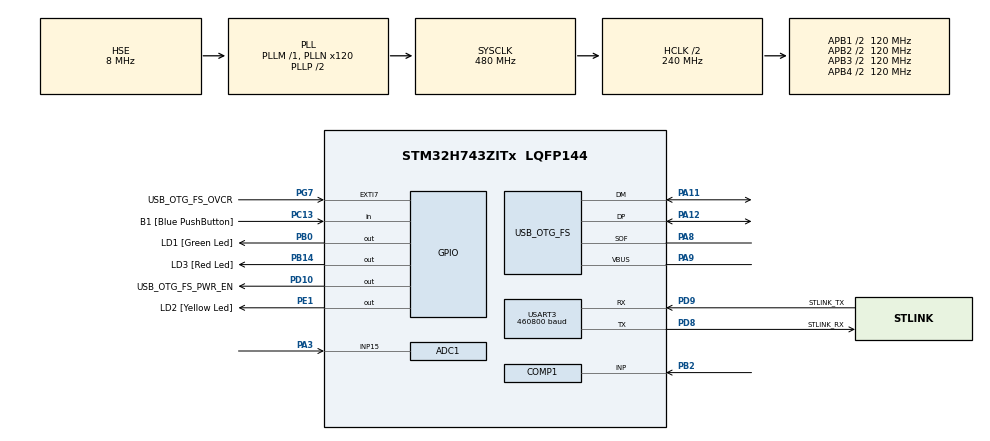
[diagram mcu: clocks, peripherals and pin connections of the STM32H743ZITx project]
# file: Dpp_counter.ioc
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ADC1.Channel-0\#ChannelRegularConversion=ADC_CHANNEL_15
ADC1.ClockPrescaler=ADC_CLOCK_ASYNC_DIV1
ADC1.ContinuousConvMode=ENABLE
ADC1.ConversionDataManagement=ADC_CONVERSIONDATA_DMA_CIRCULAR
ADC1.NbrOfConversion=1
ADC1.NbrOfConversionFlag=1
ADC1.OffsetNumber-0\#ChannelRegularConversion=ADC_OFFSET_NONE
ADC1.OffsetSignedSaturation-0\#ChannelRegularConversion=DISABLE
ADC1.Overrun=ADC_OVR_DATA_OVERWRITTEN
ADC1.Rank-0\#ChannelRegularConversion=1
ADC1.Resolution=ADC_RESOLUTION_12B
ADC1.SamplingTime-0\#ChannelRegularConversion=ADC_SAMPLETIME_32CYCLES_5
ADC1.master=1
COMP1.TriggerMode=COMP_TRIGGERMODE_IT_RISING
Dma.ADC1.0.Direction=DMA_PERIPH_TO_MEMORY
Dma.ADC1.0.EventEnable=DISABLE
Dma.ADC1.0.FIFOMode=DMA_FIFOMODE_DISABLE
Dma.ADC1.0.Instance=DMA1_Stream0
Dma.ADC1.0.MemDataAlignment=DMA_MDATAALIGN_WORD
Dma.ADC1.0.MemInc=DMA_MINC_ENABLE
Dma.ADC1.0.Mode=DMA_CIRCULAR
Dma.ADC1.0.PeriphDataAlignment=DMA_PDATAALIGN_WORD
Dma.ADC1.0.PeriphInc=DMA_PINC_DISABLE
Dma.ADC1.0.Polarity=HAL_DMAMUX_REQ_GEN_RISING
Dma.ADC1.0.Priority=DMA_PRIORITY_HIGH
Dma.ADC1.0.RequestNumber=1
Dma.ADC1.0.SignalID=NONE
Dma.ADC1.0.SyncEnable=DISABLE
Dma.ADC1.0.SyncPolarity=HAL_DMAMUX_SYNC_NO_EVENT
Dma.ADC1.0.SyncRequestNumber=1
Dma.ADC1.0.SyncSignalID=NONE
Dma.Request0=ADC1
FREERTOS.Tasks01=mainTask,0,256,StartDefaultTask,Default,NULL,Dynamic,NULL,NULL;samplingTask,0,128,StartSamplingTask,Default,NULL,Dynamic,NULL,NULL;SerialTask,0,128,StartSerialTask,Default,NULL,Dynamic,NULL,NULL
FREERTOS.configUSE_NEWLIB_REENTRANT=1
Mcu.Family=STM32H7
Mcu.Name=STM32H743ZITx
Mcu.Package=LQFP144
NVIC.COMP_IRQn=true\:5\:0\:false\:false\:true\:true\:false\:true\:true
NVIC.DMA1_Stream0_IRQn=true\:5\:0\:false\:false\:true\:true\:false\:true\:true
NVIC.PriorityGroup=NVIC_PRIORITYGROUP_4
NVIC.TIM1_UP_IRQn=true\:15\:0\:false\:false\:true\:false\:false\:true\:true
NVIC.TimeBase=TIM1_UP_IRQn
NVIC.TimeBaseIP=TIM1
NVIC.USART3_IRQn=true\:5\:0\:false\:false\:true\:true\:true\:true\:true
PA11.Mode=Device_Only
PA11.Signal=USB_OTG_FS_DM
PA12.Mode=Device_Only
PA12.Signal=USB_OTG_FS_DP
PA3.Signal=ADCx_INP15
PA8.Mode=Activate_SOF_FS
PA8.Signal=USB_OTG_FS_SOF
PA9.Mode=Activate_VBUS
PA9.Signal=USB_OTG_FS_VBUS
PB0.GPIO_Label=LD1 [Green Led]
PB0.Signal=GPIO_Output
PB14.GPIO_Label=LD3 [Red Led]
PB14.Signal=GPIO_Output
PB2.Mode=INP
PB2.Signal=COMP1_INP
PC13.GPIO_Label=B1 [Blue PushButton]
PC13.Signal=GPIO_Input
PC14-OSC32_IN\ (OSC32_IN).Mode=LSE-External-Oscillator
PC14-OSC32_IN\ (OSC32_IN).Signal=RCC_OSC32_IN
PC15-OSC32_OUT\ (OSC32_OUT).Mode=LSE-External-Oscillator
PC15-OSC32_OUT\ (OSC32_OUT).Signal=RCC_OSC32_OUT
PD10.GPIO_Label=USB_OTG_FS_PWR_EN
PD10.Signal=GPIO_Output
PD8.GPIO_Label=STLINK_RX
PD8.Mode=Asynchronous
PD8.Signal=USART3_TX
PD9.GPIO_Label=STLINK_TX
PD9.Mode=Asynchronous
PD9.Signal=USART3_RX
PE1.GPIO_Label=LD2 [Yellow Led]
PE1.Signal=GPIO_Output
PG7.GPIO_Label=USB_OTG_FS_OVCR
PG7.Signal=GPXTI7
PH0-OSC_IN\ (PH0).Mode=HSE-External-Clock-Source
PH0-OSC_IN\ (PH0).Signal=RCC_OSC_IN
PH1-OSC_OUT\ (PH1).Signal=RCC_OSC_OUT
ProjectManager.HeapSize=0x200
ProjectManager.StackSize=0x400
ProjectManager.TargetToolchain=STM32CubeIDE
RCC.ADCFreq_Value=100000000
RCC.APB1Freq_Value=120000000
RCC.APB2Freq_Value=120000000
RCC.APB3Freq_Value=120000000
RCC.APB4Freq_Value=120000000
RCC.CortexFreq_Value=480000000
RCC.D1PPRE=RCC_APB3_DIV2
RCC.D2PPRE1=RCC_APB1_DIV2
RCC.D2PPRE2=RCC_APB2_DIV2
RCC.D3PPRE=RCC_APB4_DIV2
RCC.DIVM1=1
RCC.DIVM2=1
RCC.DIVN1=120
RCC.DIVN2=100
RCC.DIVP2=8
RCC.DIVQ1=15
RCC.HCLKFreq_Value=240000000
RCC.HPRE=RCC_HCLK_DIV2
RCC.HSE_VALUE=8000000
RCC.PLL2FRACN=0
RCC.PLL3FRACN=0
RCC.PLLFRACN=0
RCC.PWR_Regulator_Voltage_Scale=PWR_REGULATOR_VOLTAGE_SCALE0
RCC.SYSCLKFreq_VALUE=480000000
RCC.SYSCLKSource=RCC_SYSCLKSOURCE_PLLCLK
RCC.USBFreq_Value=64000000
SH.ADCx_INP15.0=ADC2_INP15
SH.ADCx_INP15.1=ADC1_INP15,IN15-Single-Ended
STMicroelectronics.X-CUBE-ALGOBUILD.1.4.0.LibraryCcDSPOoLibraryJjDSPOoLibrary=true
USART3.BaudRate=460800
USART3.VirtualMode-Asynchronous=VM_ASYNC
USB_OTG_FS.VirtualMode=Device_Only
VP_COMP1_VS_VREFINT34.Mode=VREFINT_34
VP_FREERTOS_VS_CMSIS_V1.Mode=CMSIS_V1
VP_STMicroelectronics.X-CUBE-ALGOBUILD_VS_DSPOoLibraryJjLibrary_1.4.0_1.4.0.Mode=DSPOoLibraryJjLibrary
VP_SYS_VS_tim1.Mode=TIM1
board=NUCLEO-H743ZI2

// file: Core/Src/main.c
/* USER CODE BEGIN Header */
/**
  ******************************************************************************
  * @file           : main.c
  * @brief          : Main program body
  ******************************************************************************
  * @attention
  *
  * Copyright (c) 2024 STMicroelectronics.
  * All rights reserved.
  *
  * This software is licensed under terms that can be found in the LICENSE file
  * in the root directory of this software component.
  * If no LICENSE file comes with this software, it is provided AS-IS.
  *
  ******************************************************************************
  */
/* USER CODE END Header */
#include "main.h"
#include "cmsis_os.h"
#include "adc.h"
#include "comp.h"
#include "dma.h"
#include "usart.h"
#include "usb_otg.h"
#include "gpio.h"

void SystemClock_Config(void);
void MX_FREERTOS_Init(void);

int main(void)
{

  /* MCU Configuration--------------------------------------------------------*/

  /* Reset of all peripherals, Initializes the Flash interface and the Systick. */
  HAL_Init();

  /* Configure the system clock */
  SystemClock_Config();

  /* Initialize all configured peripherals */
  MX_GPIO_Init();
  MX_DMA_Init();
  MX_USB_OTG_FS_PCD_Init();
  MX_ADC1_Init();
  MX_USART3_UART_Init();
  MX_COMP1_Init();

  /* Call init function for freertos objects (in cmsis_os2.c) */
  MX_FREERTOS_Init();

  /* Start scheduler */
  osKernelStart();

  /* We should never get here as control is now taken by the scheduler */

  /* Infinite loop */
  while (1)
  {

  }
}

void SystemClock_Config(void)
{
  RCC_OscInitTypeDef RCC_OscInitStruct = {0};
  RCC_ClkInitTypeDef RCC_ClkInitStruct = {0};

  /** Supply configuration update enable
  */
  HAL_PWREx_ConfigSupply(PWR_LDO_SUPPLY);

  /** Configure the main internal regulator output voltage
  */
  __HAL_PWR_VOLTAGESCALING_CONFIG(PWR_REGULATOR_VOLTAGE_SCALE1);

  while(!__HAL_PWR_GET_FLAG(PWR_FLAG_VOSRDY)) {}

  __HAL_RCC_SYSCFG_CLK_ENABLE();
  __HAL_PWR_VOLTAGESCALING_CONFIG(PWR_REGULATOR_VOLTAGE_SCALE0);

  while(!__HAL_PWR_GET_FLAG(PWR_FLAG_VOSRDY)) {}

  /** Initializes the RCC Oscillators according to the specified parameters
  * in the RCC_OscInitTypeDef structure.
  */
  RCC_OscInitStruct.OscillatorType = RCC_OSCILLATORTYPE_HSE;
  RCC_OscInitStruct.HSEState = RCC_HSE_BYPASS;
  RCC_OscInitStruct.PLL.PLLState = RCC_PLL_ON;
  RCC_OscInitStruct.PLL.PLLSource = RCC_PLLSOURCE_HSE;
  RCC_OscInitStruct.PLL.PLLM = 1;
  RCC_OscInitStruct.PLL.PLLN = 120;
  RCC_OscInitStruct.PLL.PLLP = 2;
  RCC_OscInitStruct.PLL.PLLQ = 15;
  RCC_OscInitStruct.PLL.PLLR = 2;
  RCC_OscInitStruct.PLL.PLLRGE = RCC_PLL1VCIRANGE_3;
  RCC_OscInitStruct.PLL.PLLVCOSEL = RCC_PLL1VCOWIDE;
  RCC_OscInitStruct.PLL.PLLFRACN = 0;
  if (HAL_RCC_OscConfig(&RCC_OscInitStruct) != HAL_OK)
  {
    Error_Handler();
  }

  /** Initializes the CPU, AHB and APB buses clocks
  */
  RCC_ClkInitStruct.ClockType = RCC_CLOCKTYPE_HCLK|RCC_CLOCKTYPE_SYSCLK
                              |RCC_CLOCKTYPE_PCLK1|RCC_CLOCKTYPE_PCLK2
                              |RCC_CLOCKTYPE_D3PCLK1|RCC_CLOCKTYPE_D1PCLK1;
  RCC_ClkInitStruct.SYSCLKSource = RCC_SYSCLKSOURCE_PLLCLK;
  RCC_ClkInitStruct.SYSCLKDivider = RCC_SYSCLK_DIV1;
  RCC_ClkInitStruct.AHBCLKDivider = RCC_HCLK_DIV2;
  RCC_ClkInitStruct.APB3CLKDivider = RCC_APB3_DIV2;
  RCC_ClkInitStruct.APB1CLKDivider = RCC_APB1_DIV2;
  RCC_ClkInitStruct.APB2CLKDivider = RCC_APB2_DIV2;
  RCC_ClkInitStruct.APB4CLKDivider = RCC_APB4_DIV2;

  if (HAL_RCC_ClockConfig(&RCC_ClkInitStruct, FLASH_LATENCY_4) != HAL_OK)
  {
    Error_Handler();
  }
}

void HAL_TIM_PeriodElapsedCallback(TIM_HandleTypeDef *htim)
{
  if (htim->Instance == TIM1) {
    HAL_IncTick();
  }
}

void Error_Handler(void)
{
  __disable_irq();
  while (1)
  {
  }
}

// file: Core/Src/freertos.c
/* USER CODE BEGIN Header */
/**
  ******************************************************************************
  * File Name          : freertos.c
  * Description        : Code for freertos applications
  ******************************************************************************
  * @attention
  *
  * Copyright (c) 2024 STMicroelectronics.
  * All rights reserved.
  *
  * This software is licensed under terms that can be found in the LICENSE file
  * in the root directory of this software component.
  * If no LICENSE file comes with this software, it is provided AS-IS.
  *
  ******************************************************************************
  */
/* USER CODE END Header */

#include "FreeRTOS.h"
#include "task.h"
#include "main.h"
#include "cmsis_os.h"

/* USER CODE BEGIN Includes */
#include "usart.h"
#include "adc.h"
#include "comp.h"
#include <stdio.h>
#include "arm_math.h"
/* USER CODE END Includes */

/* USER CODE BEGIN PD */
#define BUFFER_SIZE 16384
#define BUFFER_PRINT 8192
#define PREEMPT_SIZE 1024

#define FIR_TAP_NUM 31

#define K_TRAPZ  29
#define L_TRAPZ  50
#define M_TRAPZ  20

#define DPP_DEEP 2048

/* USER CODE END PD */

/* USER CODE BEGIN Variables */
uint8_t Rx_Data[10];
uint8_t fl_receive = 0;
uint8_t fl_dpp = 0;
uint8_t fl_counter = 0;
uint8_t fl_trigger = 0;
char    Tx_Data[30];
char    Tx_DPP[10];
char    Tx_Count[10];

uint32_t medicion[BUFFER_SIZE]; // Primer buffer para almacenar los valores del ADC
uint32_t envio[BUFFER_SIZE]; // Segundo buffer para almacenar los valores del ADC
uint32_t *currentBuffer = medicion; // Apuntador al buffer actual
uint32_t *sendBuffer = NULL; // Apuntador al buffer que se enviará

uint32_t read_ptr = 0; // Puntero de lectura para FIFO circular
uint32_t write_ptr = 0; // Puntero de escritura para FIFO circular
uint8_t triggered = 0; // Flag para indicar si se ha activado el trigger
uint8_t capture_done = 0; // Flag para indicar si se ha completado la captura

int contador = 0;

// Parametros del FIR Filter
//const q31_t firCoeffs32[FIR_TAP_NUM] = {
//		0x0000, 0x0001, 0x0003, 0x0007, 0x000C, 0x0012,
//		0x001A, 0x0021, 0x0029, 0x0031, 0x0038, 0x003E,
//		0x0043, 0x0046, 0x0048, 0x0048, 0x0046, 0x0043,
//		0x003E, 0x0038, 0x0031, 0x0029, 0x0021, 0x001A,
//		0x0012, 0x000C, 0x0007, 0x0003, 0x0001, 0x0000, 0x0000};

const float32_t firCoeffs32[FIR_TAP_NUM] = {
0.0,
0.0007663088786586984,
0.003059471829289364,
0.006811378631115489,
0.011876947805368786,
0.018040490404885947,
0.025025961489500727,
0.03251058488990011,
0.04014114263135406,
0.047552064652254124,
0.054384346502548496,
0.06030426910489331,
0.06502089883314185,
0.06830140818243065,
0.06998337387462639,
0.06998337387462639,
0.06830140818243065,
0.06502089883314185,
0.0603042691048933,
0.054384346502548496,
0.04755206465225412,
0.04014114263135405,
0.0325105848899001,
0.02502596148950071,
0.018040490404885933,
0.011876947805368774,
0.00681137863111547,
0.003059471829289364,
0.0007663088786586984,
0.0};

// Variables para el filtro FIR
float32_t firStateF32[BUFFER_SIZE + FIR_TAP_NUM - 1];
arm_fir_instance_q31 S;
float32_t input[BUFFER_SIZE];
float32_t output[BUFFER_SIZE];

// Variables para el filtro Trapz
float32_t outpTrapz[BUFFER_PRINT];
float32_t trapzStateF32[BUFFER_PRINT];

// Variables para llenado del DPP
uint32_t dppBuffer[DPP_DEEP];

/* USER CODE END Variables */
osThreadId mainTaskHandle;
osThreadId samplingTaskHandle;
osThreadId SerialTaskHandle;

/* USER CODE BEGIN FunctionPrototypes */
// Inicializacion del filtro FIR
void initFIR(void);

/* USER CODE END FunctionPrototypes */

void StartDefaultTask(void const * argument);
void StartSamplingTask(void const * argument);
void StartSerialTask(void const * argument);

void MX_FREERTOS_Init(void); /* (MISRA C 2004 rule 8.1) */

/* GetIdleTaskMemory prototype (linked to static allocation support) */
void vApplicationGetIdleTaskMemory( StaticTask_t **ppxIdleTaskTCBBuffer, StackType_t **ppxIdleTaskStackBuffer, uint32_t *pulIdleTaskStackSize );

/* USER CODE BEGIN GET_IDLE_TASK_MEMORY */
static StaticTask_t xIdleTaskTCBBuffer;
static StackType_t xIdleStack[configMINIMAL_STACK_SIZE];

void vApplicationGetIdleTaskMemory( StaticTask_t **ppxIdleTaskTCBBuffer, StackType_t **ppxIdleTaskStackBuffer, uint32_t *pulIdleTaskStackSize )
{
  *ppxIdleTaskTCBBuffer = &xIdleTaskTCBBuffer;
  *ppxIdleTaskStackBuffer = &xIdleStack[0];
  *pulIdleTaskStackSize = configMINIMAL_STACK_SIZE;
  /* place for user code */
}
/* USER CODE END GET_IDLE_TASK_MEMORY */

void MX_FREERTOS_Init(void) {

  /* Create the thread(s) */
  /* definition and creation of mainTask */
  osThreadDef(mainTask, StartDefaultTask, osPriorityNormal, 0, 256);
  mainTaskHandle = osThreadCreate(osThread(mainTask), NULL);

  /* definition and creation of samplingTask */
  osThreadDef(samplingTask, StartSamplingTask, osPriorityNormal, 0, 128);
  samplingTaskHandle = osThreadCreate(osThread(samplingTask), NULL);

  /* definition and creation of SerialTask */
  osThreadDef(SerialTask, StartSerialTask, osPriorityNormal, 0, 128);
  SerialTaskHandle = osThreadCreate(osThread(SerialTask), NULL);

}

void StartDefaultTask(void const * argument)
{
  for(;;)
  {
    osDelay(1);
  }
}

void StartSamplingTask(void const * argument)
{
  /* USER CODE BEGIN StartSamplingTask */
	HAL_ADC_Start_DMA(&hadc1, currentBuffer, BUFFER_SIZE);
	HAL_COMP_Start_IT(&hcomp1);

	initFIR();
	//HAL_ADC_Start(&hadc1);
  /* Infinite loop */
  for(;;)
  {

	  if (capture_done == 1) {
		  capture_done = 0;

		  for (int i = 0; i < BUFFER_SIZE; i++){
			  if (*(sendBuffer+i) > 2000) {
				  write_ptr = (i + BUFFER_SIZE - PREEMPT_SIZE) % BUFFER_SIZE;
				  contador++;
				  break;
			  }
		  }

		  // Copiar los datos del buffer ADC al buffer de entrada
		  for (int i = 0; i < BUFFER_SIZE; i++) {
			input[i] = (float32_t)sendBuffer[i];

		  }

		  // Aplicar el filtro FIR
		  arm_fir_f32(&S, input, output, BUFFER_SIZE);

		  // Calculo del trapz shaper
		  for (int i = (K_TRAPZ + L_TRAPZ); i < BUFFER_PRINT; i++){
			  float32_t Acc = output[(write_ptr + i) % BUFFER_SIZE] -
							  output[((write_ptr + i - K_TRAPZ) % BUFFER_SIZE)] -
							  output[((write_ptr + i - L_TRAPZ) % BUFFER_SIZE)] +
							  output[((write_ptr + i - K_TRAPZ - L_TRAPZ) % BUFFER_SIZE)];
			  trapzStateF32[i] = trapzStateF32[i - 1] + Acc;
			  outpTrapz[i] = outpTrapz[i - 1] + trapzStateF32[i] + Acc * M_TRAPZ;
		  }

		  // Comparacion de tamaño para el DPP
		  for (int i = PREEMPT_SIZE; i < PREEMPT_SIZE + 300; i++){
			  int32_t diff = 1000;
			  if (outpTrapz[i] > 200000) {
				  diff = outpTrapz[i] - outpTrapz[i-1];
				  if (diff < 0) {
					  int dir = ((uint32_t)outpTrapz[i]>>11 & 0x7FF);
					  dppBuffer[dir]++;
					  break;
				  }
			  }

		  }

		  HAL_GPIO_WritePin(LD2_GPIO_Port, LD2_Pin, 1);
		  osDelay(20);
		  HAL_GPIO_WritePin(LD2_GPIO_Port, LD2_Pin, 0);
	  }
//	  osDelay(200);
//	  HAL_GPIO_TogglePin(LD2_GPIO_Port, LD2_Pin);
//	  osDelay(300);

  }
  /* USER CODE END StartSamplingTask */
}

void StartSerialTask(void const * argument)
{
  /* USER CODE BEGIN StartSerialTask */
	//__HAL_UART_ENABLE_IT(&huart3, UART_IT_IDLE);   // enable idle line interrupt

	HAL_UART_Receive_IT(&huart3, Rx_Data, 1);
  /* Infinite loop */
  for(;;)
  {

	  if (fl_receive == 1){
		  fl_receive = 0;

		  //HAL_UART_Transmit_IT(&huart3, "HELLO FABIAN\n", 13);
		  for (int i = 0; i < BUFFER_PRINT ; i++){
			  sprintf(Tx_Data, "%lu,%lu,%lu\r\n", (uint32_t)outpTrapz[i],
					  	  	  	  	  	  	  (uint32_t)output[(write_ptr + i) % BUFFER_SIZE],
											  (uint32_t)input[(write_ptr + i) % BUFFER_SIZE]);
					                         // *(sendBuffer + ((write_ptr + i) % BUFFER_SIZE)));
			  // sprintf(Tx_Data, "%lu\r\n", *(sendBuffer + ((write_ptr + i) % BUFFER_SIZE)));
			  HAL_UART_Transmit(&huart3, Tx_Data, strlen(Tx_Data), HAL_MAX_DELAY);
		  }

	  }

	  if (fl_dpp == 1){
		  fl_dpp = 0;

		  //HAL_UART_Transmit_IT(&huart3, "HELLO FABIAN\n", 13);
		  for (int i = 0; i < DPP_DEEP ; i++){
			  sprintf(Tx_DPP, "%lu\r\n", dppBuffer[i]);
			  HAL_UART_Transmit(&huart3, Tx_DPP, strlen(Tx_DPP), HAL_MAX_DELAY);
		  }

	  }

	  if (fl_counter == 1){
		  fl_counter = 0;

		  //HAL_UART_Transmit_IT(&huart3, "HELLO FABIAN\n", 13);
		  sprintf(Tx_Count, "%lu\r\n", contador);
		  HAL_UART_Transmit(&huart3, Tx_Count, strlen(Tx_Count), HAL_MAX_DELAY);

	   }

    osDelay(1);
  }
  /* USER CODE END StartSerialTask */
}

/* USER CODE BEGIN Application */

void initFIR(void) {
  // arm_fir_init_q31(&S, FIR_TAP_NUM, &firCoeffs32, &firStateF32, BUFFER_SIZE);
  arm_fir_init_f32(&S, FIR_TAP_NUM, firCoeffs32, firStateF32, BUFFER_SIZE);
}

/* ******************************************************************************** */
void HAL_COMP_TriggerCallback(COMP_HandleTypeDef *hcomp){
	fl_trigger = 1;

}

void HAL_ADC_ConvCpltCallback(ADC_HandleTypeDef* hadc){
	read_ptr = (read_ptr + 1) % BUFFER_SIZE;

	if (fl_trigger == 1){
		fl_trigger = 0;
		if (capture_done ==  0) {
				capture_done = 1;
			HAL_ADC_Stop_DMA(&hadc1);
			  // Alternar buffers
			  if (currentBuffer == medicion)
			  {
				  currentBuffer = envio;
				  sendBuffer = medicion;
			  }
			  else
			  {
				  currentBuffer = medicion;
				  sendBuffer = envio;
			  }

			  // Reiniciar el DMA con el nuevo buffer
			  HAL_ADC_Start_DMA(&hadc1, currentBuffer, BUFFER_SIZE);
			}
	}
}

void HAL_UART_TxCpltCallback(UART_HandleTypeDef *huart){
	//HAL_GPIO_TogglePin (LD3_GPIO_Port, LD3_Pin);
	HAL_GPIO_TogglePin(LD3_GPIO_Port, LD3_Pin);
	return;
}

void HAL_UART_RxCpltCallback(UART_HandleTypeDef *huart)
{

	HAL_UART_Receive_IT(&huart3, Rx_Data, 1);
	if (Rx_Data[0] == 'R'){
		HAL_GPIO_TogglePin(LD1_GPIO_Port, LD1_Pin);
		fl_receive = 1;
	} else if (Rx_Data[0] == 'H'){
		HAL_GPIO_TogglePin(LD3_GPIO_Port, LD3_Pin);
		fl_dpp = 1;
	} else if (Rx_Data[0] == 'J'){
		fl_counter = 1;
	}

	return;
}
/* USER CODE END Application */
